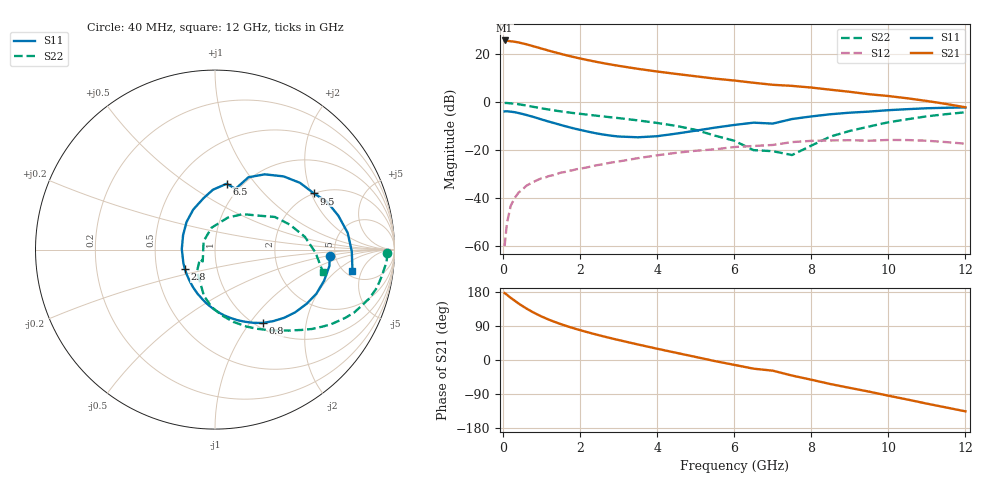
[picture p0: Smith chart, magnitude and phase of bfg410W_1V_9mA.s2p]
! Filename: 19bfg410.001
! BFG410W Field B1
! V1=8.813E-001V,V2=1.000E+000V, I1=1.480E-004A, I2=8.990E-003A
# GHz  S  MA  R 50
!  S11  S21  S12  S22
!Freq(GHz)  Mag  Ang  Mag  Ang  Mag  Ang  Mag  Ang
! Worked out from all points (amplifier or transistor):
!   44 points, 40 MHz to 12 GHz, reference 50 ohm
!   highest |S21| = 25.7 dB at 40 MHz (marker M1)
!   |S21| within 3 dB of that: start of sweep to 916.6 MHz
!   unconditionally stable (mu >= 1): start of sweep to 52.21 MHz; 1.805 GHz to end of sweep
!   at 700 MHz: K = 0.52, MSG = 28.8 dB, |S12| = -34.0 dB
!   at 2.4 GHz: K = 1.14, MAG = 19.3 dB, |S12| = -26.4 dB
!   at 12 GHz: K = 1.54, MAG = 3.2 dB, |S12| = -17.3 dB
!   S11 on the Smith chart (normalised r, x): 40 MHz: 4.48, -0.57; 800 MHz: 1.08, -1.16; 2.8 GHz: 0.70, -0.16; 6.5 GHz: 0.85, +0.73; 9.5 GHz: 2.00, +2.09; 12 GHz: 5.83, -3.43
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0.04  0.64 -3.4  19.21 176.7  0.001 75.6  0.958 -1.0
0.2  0.632 -15.9  18.47 163.9  0.007 80.4  0.941 -9.0
0.3  0.616 -23.5  18.06 156.7  0.01 77.3  0.927 -13.2
0.4  0.593 -30.7  17.46 149.3  0.013 73.4  0.903 -17.4
0.5  0.567 -38.1  16.75 142.6  0.015 70.0  0.875 -20.9
0.6  0.541 -44.6  16.01 136.3  0.018 67.3  0.851 -24.3
0.8  0.488 -56.9  14.45 124.9  0.022 62.3  0.793 -30.2
0.9  0.461 -62.3  13.72 119.7  0.024 60.3  0.768 -32.8
1.1  0.412 -72.5  12.34 110.4  0.027 57.3  0.719 -37.3
1.4  0.352 -86.3  10.6 98.3  0.032 54.0  0.658 -42.9
1.8  0.288 -103.4  8.806 84.8  0.038 50.8  0.595 -49.3
2.2  0.243 -120.2  7.482 73.1  0.044 47.8  0.546 -55.4
2.8  0.2 -147.0  6.057 57.5  0.055 43.0  0.483 -64.5
3.5  0.185 179.2  4.929 41.0  0.068 36.1  0.416 -75.7
4.5  0.221 135.9  3.857 18.9  0.088 23.6  0.319 -93.6
5.5  0.294 102.4  3.081 -2.9  0.104 8.3  0.2 -114.4
6.5  0.373 79.9  2.529 -22.9  0.122 -5.7  0.1 -147.6
7.5  0.444 65.2  2.177 -41.0  0.147 -17.3  0.079 143.7
8.5  0.559 46.8  1.811 -63.5  0.159 -39.2  0.192 68.1
9.5  0.634 29.6  1.458 -83.5  0.157 -58.0  0.31 37.5
10.5  0.713 15.3  1.198 -104.4  0.162 -77.6  0.44 18.4
12  0.775 -8.7  0.78 -135.5  0.136 -113.0  0.614 -11.8
